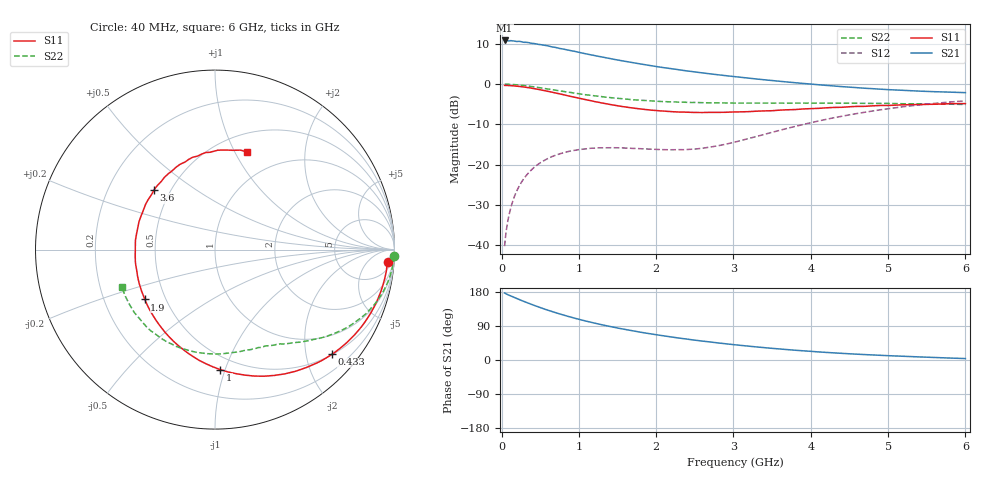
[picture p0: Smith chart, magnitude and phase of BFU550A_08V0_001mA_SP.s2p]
! Filename:  P:\Prog\Test\Noise\ATS_data\Testdata_Net\03 Spar\BFU550A_APG2013_35_C05_08p0V_001mA_SP_CM01_D.s2p
! Date/Time: Tue 16/Apr/2013 15:10:18
! BFU550A_APG2013_35_C05_08p0V_1to35mA_SP_CM01_Bias1_R.s2p
! MDIF S-parameter v. bias file
! BFU550A_APG2013_35_C05_08p0V_1to35mA_SP_CM01
! Date/time Mon Apr 15 16:50:27 2013
! bias mode 1
! bias variable = I_out
! VAR bias_var= 1
! VAR V_out= 8.0000
! VAR I_out= 1.0000
! VAR V_in= 0.7806
! VAR I_in= 0.0099
! Device data file deembeded for feedlines and parallel
! Original file: \03 Spar\BFU550A_APG2013_35_C05_08p0V_001mA_SP_CM01_R.s2p
! Feed-files: PR017V01_150413_Feed1.s2p, PR017V01_150413_Feed2.s2p
! Parallel-file: PR017V01_150413_Par.s2p
# MHz S MA R 50
!  Freq-MHz  S11-mag  S11-arg  S21-mag  S21-arg  S12-mag  S12-arg  S22-mag  S22-arg
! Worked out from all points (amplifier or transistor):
!   98 points, 40 MHz to 6 GHz, reference 50 ohm
!   highest |S21| = 10.8 dB at 40 MHz (marker M1)
!   |S21| within 3 dB of that: start of sweep to 1.016 GHz
!   unconditionally stable (mu >= 1): 2.341 GHz to 2.962 GHz
!   at 300 MHz: K = 0.14, MSG = 16.8 dB, |S12| = -23.2 dB
!   at 1.6 GHz: K = 0.69, MSG = 10.8 dB, |S12| = -15.9 dB
!   at 6 GHz: K = 0.89, MSG = 1.0 dB, |S12| = -4.2 dB
!   S11 on the Smith chart (normalised r, x): 40 MHz: 12, -23; 433 MHz: 0.51, -2.53; 1 GHz: 0.40, -0.96; 1.9 GHz: 0.38, -0.28; 3.6 GHz: 0.41, +0.35; 6 GHz: 0.69, +1.12
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40  0.9643 -4.0  3.475 176.7  0.009786 87.3  0.9979 -2.1
80  0.9612 -8.0  3.464 172.6  0.0197 84.6  0.9955 -4.4
160  0.9499 -16.0  3.423 165.6  0.03884 79.4  0.9862 -8.7
240  0.9327 -23.8  3.379 158.7  0.05684 74.6  0.9709 -12.9
320  0.9112 -31.4  3.297 152.2  0.07354 69.9  0.9515 -16.9
433  0.8743 -41.8  3.166 143.4  0.09462 63.9  0.9207 -21.9
600  0.8131 -56.5  2.981 131.4  0.1195 55.9  0.8692 -28.6
700  0.7756 -64.7  2.847 124.9  0.1311 51.8  0.8396 -32.2
850  0.7195 -76.5  2.655 115.7  0.1448 46.5  0.7971 -36.7
1000  0.6693 -87.5  2.479 107.5  0.154 42.1  0.7597 -40.8
1050  0.6533 -91.0  2.418 104.8  0.1559 40.9  0.7465 -42.0
1250  0.5959 -104.7  2.211 95.2  0.1621 36.7  0.708 -46.5
1450  0.5493 -117.7  2.032 86.5  0.1626 34.1  0.6735 -50.6
1650  0.5126 -130.0  1.879 78.8  0.1604 33.1  0.6465 -54.5
1900  0.4799 -144.7  1.712 70.0  0.1565 34.1  0.622 -59.0
2050  0.4657 -153.1  1.624 65.2  0.1543 36.0  0.6095 -61.6
2500  0.4449 -176.9  1.415 52.4  0.1563 45.7  0.5922 -70.0
3100  0.4527 155.2  1.213 38.5  0.1999 59.9  0.5813 -82.5
3600  0.4757 135.6  1.083 29.1  0.2674 63.5  0.5813 -94.1
4100  0.5002 118.3  0.9813 21.3  0.3486 60.7  0.5802 -106.8
5200  0.5542 88.3  0.8366 9.8  0.5246 45.9  0.5706 -136.2
6000  0.5729 72.0  0.7834 3.8  0.6192 33.0  0.5591 -158.1
